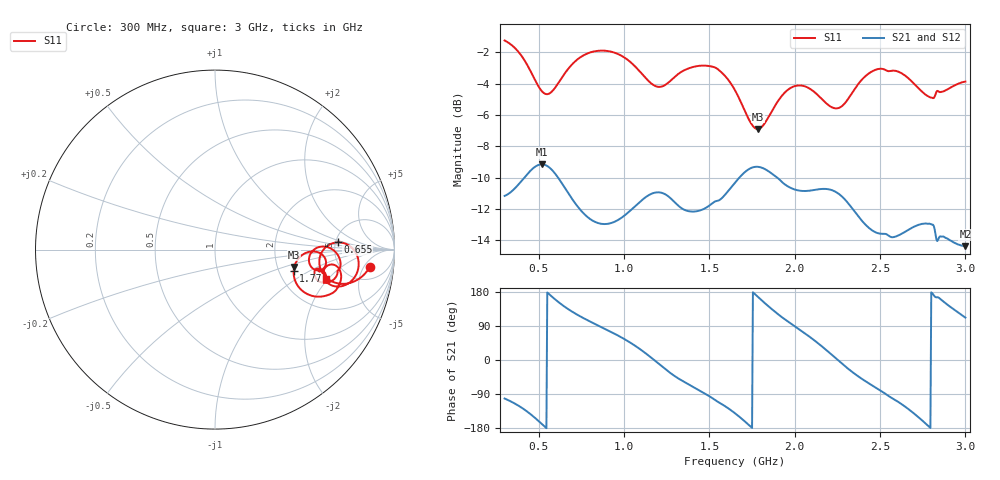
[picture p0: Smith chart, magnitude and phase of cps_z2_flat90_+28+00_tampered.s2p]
! cps_z2_flat90_+28+00_tampered
! simulated by sim/fixtures_fdtd.py (S12 = S21, S22 not computed)
# HZ S RI R 50
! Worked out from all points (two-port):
!   541 points, 300 MHz to 3 GHz, reference 50 ohm
!   highest |S21| = -9.16 dB at 520 MHz (marker M1); lowest = -14.4 dB at 3 GHz (marker M2)
!   |S21| within 3 dB of the highest: start of sweep to 751.1 MHz; 1.425 GHz to 2.349 GHz (924.2 MHz wide, 49 % of centre) (the widest 2 of 3)
!   lowest |S11| = -6.9 dB at 1.785 GHz (marker M3), VSWR 2.65, Z = 124 - j30 ohm
!   |S11| at or under -10 dB: nowhere
!   |S22| runs from - to - dB; largest |S21 - S12| = 0
!   S11 on the Smith chart (normalised r, x): 300 MHz: 9, -7; 655 MHz: 5.20, +0.79; 1.77 GHz: 2.40, -0.73; 3 GHz: 3.46, -1.90
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3e8  0.8625 -0.097  -0.0556 -0.2706  -0.0556 -0.2706  0 0
4.25e8  0.7116 -0.191  -0.2214 -0.2318  -0.2214 -0.2318  0 0
5.2e8  0.5866 -0.104  -0.3427 -0.063  -0.3427 -0.063  0 0
6.55e8  0.6825 0.0404  -0.2223 0.1891  -0.2223 0.1891  0 0
7.5e8  0.7706 0.00204  -0.0982 0.2267  -0.0982 0.2267  0 0
8.85e8  0.7976 -0.1077  0.0279 0.2227  0.0279 0.2227  0 0
1.03e9  0.7184 -0.2003  0.1659 0.1817  0.1659 0.1817  0 0
1.2e9  0.6032 -0.1284  0.2803 -0.0432  0.2803 -0.0432  0 0
1.3e9  0.6608 -0.0841  0.1904 -0.1807  0.1904 -0.1807  0 0
1.455e9  0.7016 -0.1665  0.0271 -0.2478  0.0271 -0.2478  0 0
1.65e9  0.543 -0.2582  -0.2352 -0.1933  -0.2352 -0.1933  0 0
1.77e9  0.4382 -0.1198  -0.3392 0.0448  -0.3392 0.0448  0 0
1.785e9  0.4418 -0.0961  -0.3323 0.0814  -0.3323 0.0814  0 0
1.915e9  0.5681 -0.0131  -0.1373 0.2779  -0.1373 0.2779  0 0
2.1e9  0.5917 -0.1131  0.1568 0.2412  0.1568 0.2412  0 0
2.19e9  0.5349 -0.0947  0.2647 0.1197  0.2647 0.1197  0 0
2.26e9  0.5272 -0.0344  0.2795 -0.0145  0.2795 -0.0145  0 0
2.37e9  0.6274 0.0136  0.1758 -0.1611  0.1758 -0.1611  0 0
2.55e9  0.6821 -0.1179  -0.0185 -0.2052  -0.0185 -0.2052  0 0
2.675e9  0.6233 -0.1848  -0.1468 -0.1594  -0.1468 -0.1594  0 0
2.785e9  0.5555 -0.1448  -0.2242 -0.02  -0.2242 -0.02  0 0
3e9  0.6205 -0.162  -0.071 0.177  -0.071 0.177  0 0
